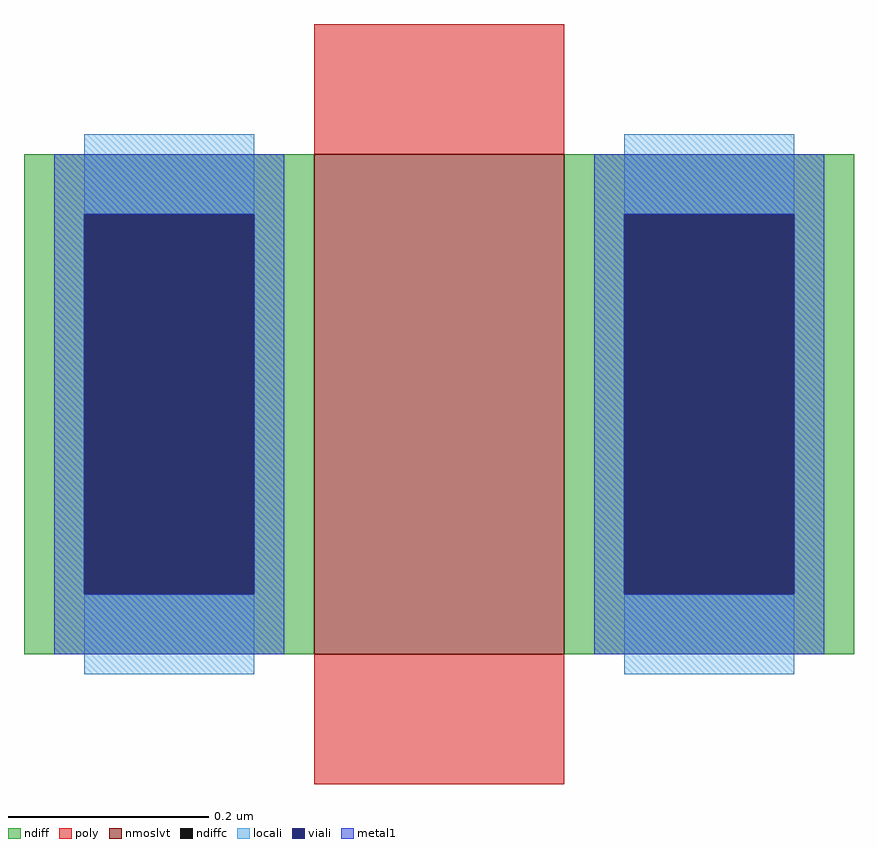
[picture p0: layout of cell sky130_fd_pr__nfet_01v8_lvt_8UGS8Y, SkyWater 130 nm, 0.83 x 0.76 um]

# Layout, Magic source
magic
tech sky130A
magscale 1 2
<< nmoslvt >>
rect -25 -50 25 50
<< ndiff >>
rect -83 38 -25 50
rect -83 -38 -71 38
rect -37 -38 -25 38
rect -83 -50 -25 -38
rect 25 38 83 50
rect 25 -38 37 38
rect 71 -38 83 38
rect 25 -50 83 -38
<< ndiffc >>
rect -71 -38 -37 38
rect 37 -38 71 38
<< poly >>
rect -25 50 25 76
rect -25 -76 25 -50
<< locali >>
rect -71 38 -37 54
rect -71 -54 -37 -38
rect 37 38 71 54
rect 37 -54 71 -38
<< viali >>
rect -71 -38 -37 38
rect 37 -38 71 38
<< metal1 >>
rect -77 38 -31 50
rect -77 -38 -71 38
rect -37 -38 -31 38
rect -77 -50 -31 -38
rect 31 38 77 50
rect 31 -38 37 38
rect 71 -38 77 38
rect 31 -50 77 -38
<< properties >>
string gencell sky130_fd_pr__nfet_01v8_lvt
string library sky130
string parameters w 0.5 l 0.25 m 1 nf 1 diffcov 100 polycov 100 guard 0 glc 0 grc 0 gtc 0 gbc 0 tbcov 100 rlcov 100 topc 0 botc 0 poverlap 0 doverlap 1 lmin 0.15 wmin 0.42 compatible {sky130_fd_pr__nfet_01v8 sky130_fd_pr__nfet_01v8_lvt  sky130_fd_bs_flash__special_sonosfet_star  sky130_fd_pr__nfet_g5v0d10v5 sky130_fd_pr__nfet_05v0_nvt  sky130_fd_pr__nfet_03v3_nvt} full_metal 0 viasrc 100 viadrn 100 viagate 100 viagb 0 viagr 0 viagl 0 viagt 0
<< end >>
